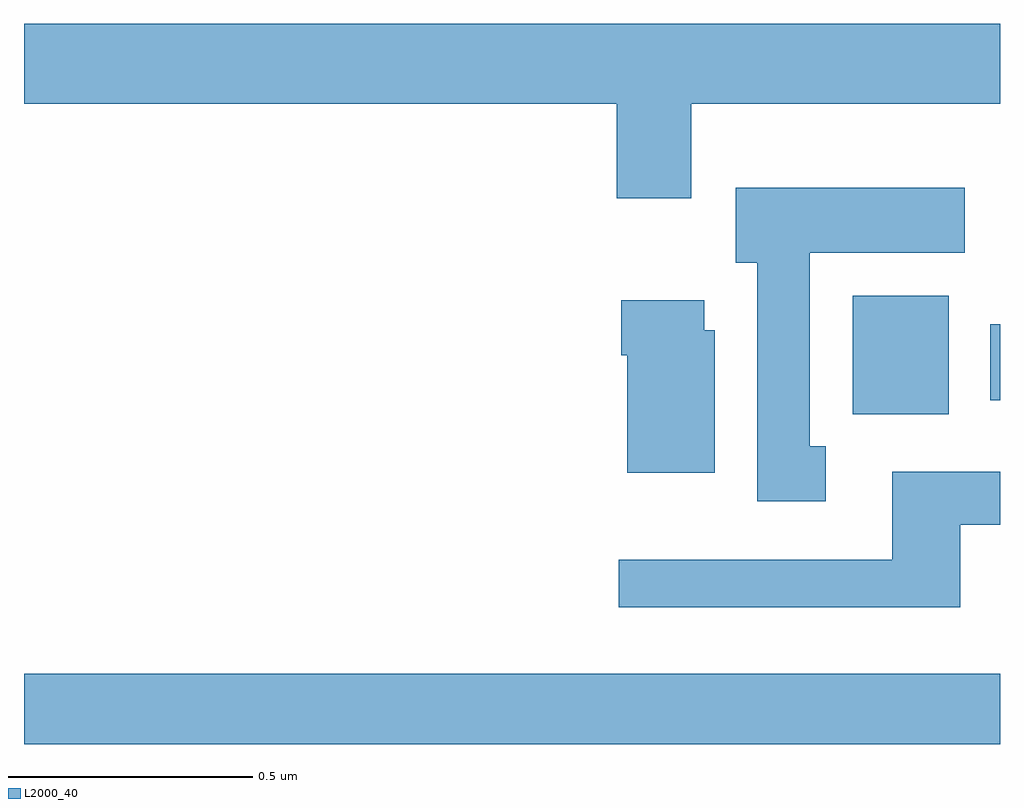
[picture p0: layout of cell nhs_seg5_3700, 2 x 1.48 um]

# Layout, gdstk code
import gdstk
lib = gdstk.Library(unit=1e-6, precision=1e-09)
def R(c, l, rs):  # rectangles x0, y0, x1, y1
    for r in rs: c.add(gdstk.rectangle(r[:2], r[2:], *l))
def P(c, l, *ps):  # polygons
    for p in ps: c.add(gdstk.Polygon(p, *l))
L2000_40 = (2000, 40)

nhs_seg5_3700 = lib.new_cell('nhs_seg5_3700')
R(nhs_seg5_3700, L2000_40, [(161,836.799,163,836.944), (162.698,837.476,162.895,837.718), (162.98,837.504,163,837.66)])
P(nhs_seg5_3700, L2000_40, [(162.367,838.112),(163,838.112),(163,838.276),(161,838.276),(161,838.112),(162.215,838.112),(162.215,837.918),(162.367,837.918)],
  [(162.643,837.41),(162.61,837.41),(162.61,837.806),(162.928,837.806),(162.928,837.94),(162.458,837.94),(162.458,837.786),(162.503,837.786),(162.503,837.297),(162.643,837.297)],
  [(162.415,837.648),(162.394,837.648),(162.394,837.709),(162.224,837.709),(162.224,837.596),(162.236,837.596),(162.236,837.356),(162.415,837.356)],
  [(162.919,837.249),(163,837.249),(163,837.358),(162.779,837.358),(162.779,837.177),(162.219,837.177),(162.219,837.08),(162.919,837.08)])

lib.write_gds('nhs_seg5_3700.gds')
